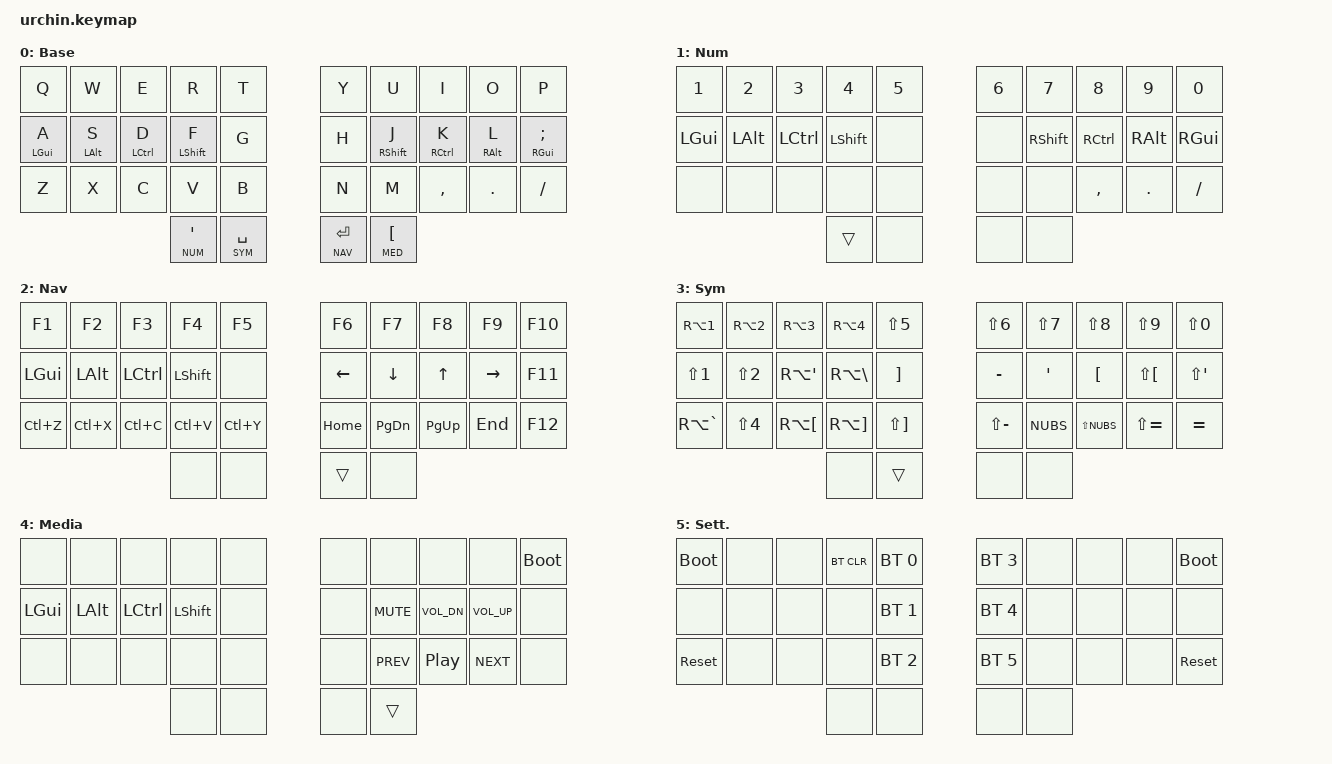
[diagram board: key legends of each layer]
/*
 * Urchin 3x5+2 - 34-Key Layout
 * ==============================
 * Portado desde: Corne v4.1 / Go60 layout
 * Fecha: 2026-04-10
 * SO: ES keyboard layout (Hyprland/Wayland)
 *
 * 34 teclas: 3 filas x 5 columnas x 2 lados + 2 thumbs x 2 lados
 * Los keycodes usan nombres US QWERTY (estándar ZMK/HID).
 * El SO interpreta según layout ES configurado en el sistema.
 *
 * Mapeo ES: SEMI=ñ, SQT=´(dead), LBKT=`(dead), RBKT=+, MINUS=',
 *           FSLH=-, NUBS=<, GRAVE=º, BSLH=ç
 *
 * Key positions:
 *   0  1  2  3  4        5  6  7  8  9
 *  10 11 12 13 14       15 16 17 18 19
 *  20 21 22 23 24       25 26 27 28 29
 *              30 31  32 33
 */

#include <behaviors.dtsi>
#include <dt-bindings/zmk/keys.h>
#include <dt-bindings/zmk/bt.h>
#include <dt-bindings/zmk/outputs.h>

// ZMK Studio: locking disabled via CONFIG_ZMK_STUDIO_LOCKING=n in urchin.conf
// No studio_unlock behavior needed

// Layer definitions
#define BASE 0
#define NUM  1
#define NAV  2
#define SYM  3
#define MED  4
#define SETTINGS 5

/ {
    behaviors {
        // Home Row Mods - Left hand
        // Triggers on right-side keys + right thumb
        hml: homerow_mod_left {
            compatible = "zmk,behavior-hold-tap";
            #binding-cells = <2>;
            label = "HOMEROW_MOD_LEFT";
            flavor = "balanced";
            tapping-term-ms = <250>;
            quick-tap-ms = <175>;
            require-prior-idle-ms = <150>;
            bindings = <&kp>, <&kp>;
            hold-trigger-key-positions = <5 6 7 8 9 15 16 17 18 19 25 26 27 28 29 32 33>;
            hold-trigger-on-release;
        };

        // Home Row Mods - Right hand
        // Triggers on left-side keys + left thumb
        hmr: homerow_mod_right {
            compatible = "zmk,behavior-hold-tap";
            #binding-cells = <2>;
            label = "HOMEROW_MOD_RIGHT";
            flavor = "balanced";
            tapping-term-ms = <250>;
            quick-tap-ms = <175>;
            require-prior-idle-ms = <150>;
            bindings = <&kp>, <&kp>;
            hold-trigger-key-positions = <0 1 2 3 4 10 11 12 13 14 20 21 22 23 24 30 31>;
            hold-trigger-on-release;
        };

        // Layer-tap for thumbs
        ltl: layer_tap_left {
            compatible = "zmk,behavior-hold-tap";
            #binding-cells = <2>;
            label = "LAYER_TAP_LEFT";
            flavor = "balanced";
            tapping-term-ms = <250>;
            quick-tap-ms = <175>;
            bindings = <&mo>, <&kp>;
        };

        ltr: layer_tap_right {
            compatible = "zmk,behavior-hold-tap";
            #binding-cells = <2>;
            label = "LAYER_TAP_RIGHT";
            flavor = "balanced";
            tapping-term-ms = <250>;
            quick-tap-ms = <175>;
            bindings = <&mo>, <&kp>;
        };
    };

    combos {
        compatible = "zmk,combos";

        // W + E = Esc  (positions 1 + 2)
        combo_esc {
            timeout-ms = <50>;
            key-positions = <1 2>;
            bindings = <&kp ESC>;
        };

        // D + F = Tab  (positions 12 + 13)
        combo_tab {
            timeout-ms = <50>;
            key-positions = <12 13>;
            bindings = <&kp TAB>;
        };

        // F + G = Caps Word  (positions 13 + 14)
        combo_capsword {
            timeout-ms = <50>;
            key-positions = <13 14>;
            bindings = <&caps_word>;
        };

        // Z + X = Undo / Ctrl+Z  (positions 20 + 21)
        combo_undo {
            timeout-ms = <50>;
            key-positions = <20 21>;
            bindings = <&kp LC(Z)>;
        };

        // X + C = Cut / Ctrl+X  (positions 21 + 22)
        combo_cut {
            timeout-ms = <50>;
            key-positions = <21 22>;
            bindings = <&kp LC(X)>;
        };

        // C + V = Copy / Ctrl+C  (positions 22 + 23)
        combo_copy {
            timeout-ms = <50>;
            key-positions = <22 23>;
            bindings = <&kp LC(C)>;
        };

        // V + B = Paste / Ctrl+V  (positions 23 + 24)
        combo_paste {
            timeout-ms = <50>;
            key-positions = <23 24>;
            bindings = <&kp LC(V)>;
        };

        // J + K = Backspace  (positions 16 + 17)
        combo_bksp {
            timeout-ms = <50>;
            key-positions = <16 17>;
            bindings = <&kp BSPC>;
        };

        // K + L = Delete  (positions 17 + 18)
        combo_del {
            timeout-ms = <50>;
            key-positions = <17 18>;
            bindings = <&kp DEL>;
        };

        // Both left thumbs = Settings layer (BT, bootloader)
        combo_settings {
            timeout-ms = <200>;
            key-positions = <30 31>;
            bindings = <&mo SETTINGS>;
        };

        // Both right thumbs = Settings layer (BT, bootloader)
        combo_settings_right {
            timeout-ms = <200>;
            key-positions = <32 33>;
            bindings = <&mo SETTINGS>;
        };


    };

    keymap {
        compatible = "zmk,keymap";

        // ========================================
        // LAYER 0: BASE (QWERTY + Home Row Mods)
        // ========================================
        //  Q    W    E    R    T        Y    U    I    O    P
        // GUI/A ALT/S CTL/D SFT/F G    H   SFT/J CTL/K ALT/L GUI/ñ
        //  Z    X    C    V    B        N    M    ,    .    -
        //                NUM/´ SYM/Sp  NAV/En MED/`
        layer_Base {
            label = "Base";
            bindings = <
                &kp Q        &kp W        &kp E         &kp R         &kp T            &kp Y   &kp U         &kp I         &kp O        &kp P
                &hml LGUI A  &hml LALT S  &hml LCTRL D  &hml LSHFT F  &kp G            &kp H   &hmr RSHFT J  &hmr RCTRL K  &hmr RALT L  &hmr RGUI SEMI
                &kp Z        &kp X        &kp C         &kp V         &kp B            &kp N   &kp M         &kp COMMA     &kp DOT      &kp FSLH
                                                         &ltl NUM SQT  &ltl SYM SPACE   &ltr NAV RET  &ltr MED LBKT
            >;
        };

        // ========================================
        // LAYER 1: NUMBERS (hold NUM/´)
        // ========================================
        layer_Num {
            label = "Num";
            bindings = <
                &kp N1    &kp N2    &kp N3     &kp N4     &kp N5       &kp N6  &kp N7     &kp N8     &kp N9    &kp N0
                &kp LGUI  &kp LALT  &kp LCTRL  &kp LSHFT  &none        &none   &kp RSHFT  &kp RCTRL  &kp RALT  &kp RGUI
                &none     &none     &none      &none      &none        &none   &none      &kp COMMA  &kp DOT   &kp FSLH
                                                &trans     &none        &none   &none
            >;
        };

        // ========================================
        // LAYER 2: FN + NAVIGATION + CLIPBOARD (hold NAV/Enter)
        // ========================================
        layer_Nav {
            label = "Nav";
            bindings = <
                &kp F1    &kp F2    &kp F3     &kp F4     &kp F5        &kp F6    &kp F7     &kp F8     &kp F9     &kp F10
                &kp LGUI  &kp LALT  &kp LCTRL  &kp LSHFT  &none         &kp LEFT  &kp DOWN   &kp UP     &kp RIGHT  &kp F11
                &kp LC(Z) &kp LC(X) &kp LC(C)  &kp LC(V)  &kp LC(Y)     &kp HOME  &kp PG_DN  &kp PG_UP  &kp END    &kp F12
                                                &none      &none         &trans    &none
            >;
        };

        // ========================================
        // LAYER 3: SYMBOLS (ES layout) (hold SYM/Space)
        // ========================================
        // What you see (ES):
        //  |    @    #    ~    %        &    /    (    )    =
        //  !    "    {    }    +        '    ´    `    ^    ¨
        //  \    $    [    ]    *        ?    <    >    ¿    ¡
        layer_Sym {
            label = "Sym";
            bindings = <
                &kp RA(N1)     &kp RA(N2)     &kp RA(N3)    &kp RA(N4)     &kp LS(N5)       &kp LS(N6)     &kp LS(N7)  &kp LS(N8)   &kp LS(N9)     &kp LS(N0)
                &kp LS(N1)     &kp LS(N2)     &kp RA(SQT)   &kp RA(BSLH)   &kp RBKT         &kp MINUS      &kp SQT     &kp LBKT     &kp LS(LBKT)   &kp LS(SQT)
                &kp RA(GRAVE)  &kp LS(N4)     &kp RA(LBKT)  &kp RA(RBKT)   &kp LS(RBKT)     &kp LS(MINUS)  &kp NUBS    &kp LS(NUBS) &kp LS(EQUAL)  &kp EQUAL
                                                              &none          &trans           &none         &none
            >;
        };

        // ========================================
        // LAYER 4: MEDIA + SYSTEM
        // ========================================
        layer_Media {
            label = "Media";
            bindings = <
                &none     &none     &none      &none      &none        &none  &none          &none          &none          &bootloader
                &kp LGUI  &kp LALT  &kp LCTRL  &kp LSHFT  &none        &none  &kp C_MUTE     &kp C_VOL_DN   &kp C_VOL_UP   &none
                &none     &none     &none      &none      &none        &none  &kp C_PREV     &kp C_PP       &kp C_NEXT     &none
                                                &none      &none        &none  &trans
            >;
        };

        // ========================================
        // LAYER 5: SETTINGS (BT + System)
        // ========================================
        // Access via combo: both left thumbs (30+31)
        // Or add a dedicated mechanism
        layer_Settings {
            label = "Sett.";
            bindings = <
                &bootloader     &none  &none  &bt BT_CLR  &bt BT_SEL 0     &bt BT_SEL 3  &none  &none  &none  &bootloader
                &none           &none  &none  &none       &bt BT_SEL 1     &bt BT_SEL 4  &none          &none  &none  &none
                &sys_reset      &none  &none  &none       &bt BT_SEL 2     &bt BT_SEL 5  &none          &none  &none  &sys_reset
                                               &none       &none            &none         &none
            >;
        };

        // ========================================
        // LAYERS 6-7: Reserved for ZMK Studio
        // ========================================
#ifdef CONFIG_ZMK_STUDIO
        layer_Reserved1 {
            status = "reserved";
            bindings = <
                &trans &trans &trans &trans &trans   &trans &trans &trans &trans &trans
                &trans &trans &trans &trans &trans   &trans &trans &trans &trans &trans
                &trans &trans &trans &trans &trans   &trans &trans &trans &trans &trans
                                     &trans &trans   &trans &trans
            >;
        };

        layer_Reserved2 {
            status = "reserved";
            bindings = <
                &trans &trans &trans &trans &trans   &trans &trans &trans &trans &trans
                &trans &trans &trans &trans &trans   &trans &trans &trans &trans &trans
                &trans &trans &trans &trans &trans   &trans &trans &trans &trans &trans
                                     &trans &trans   &trans &trans
            >;
        };
#endif
    };
};
